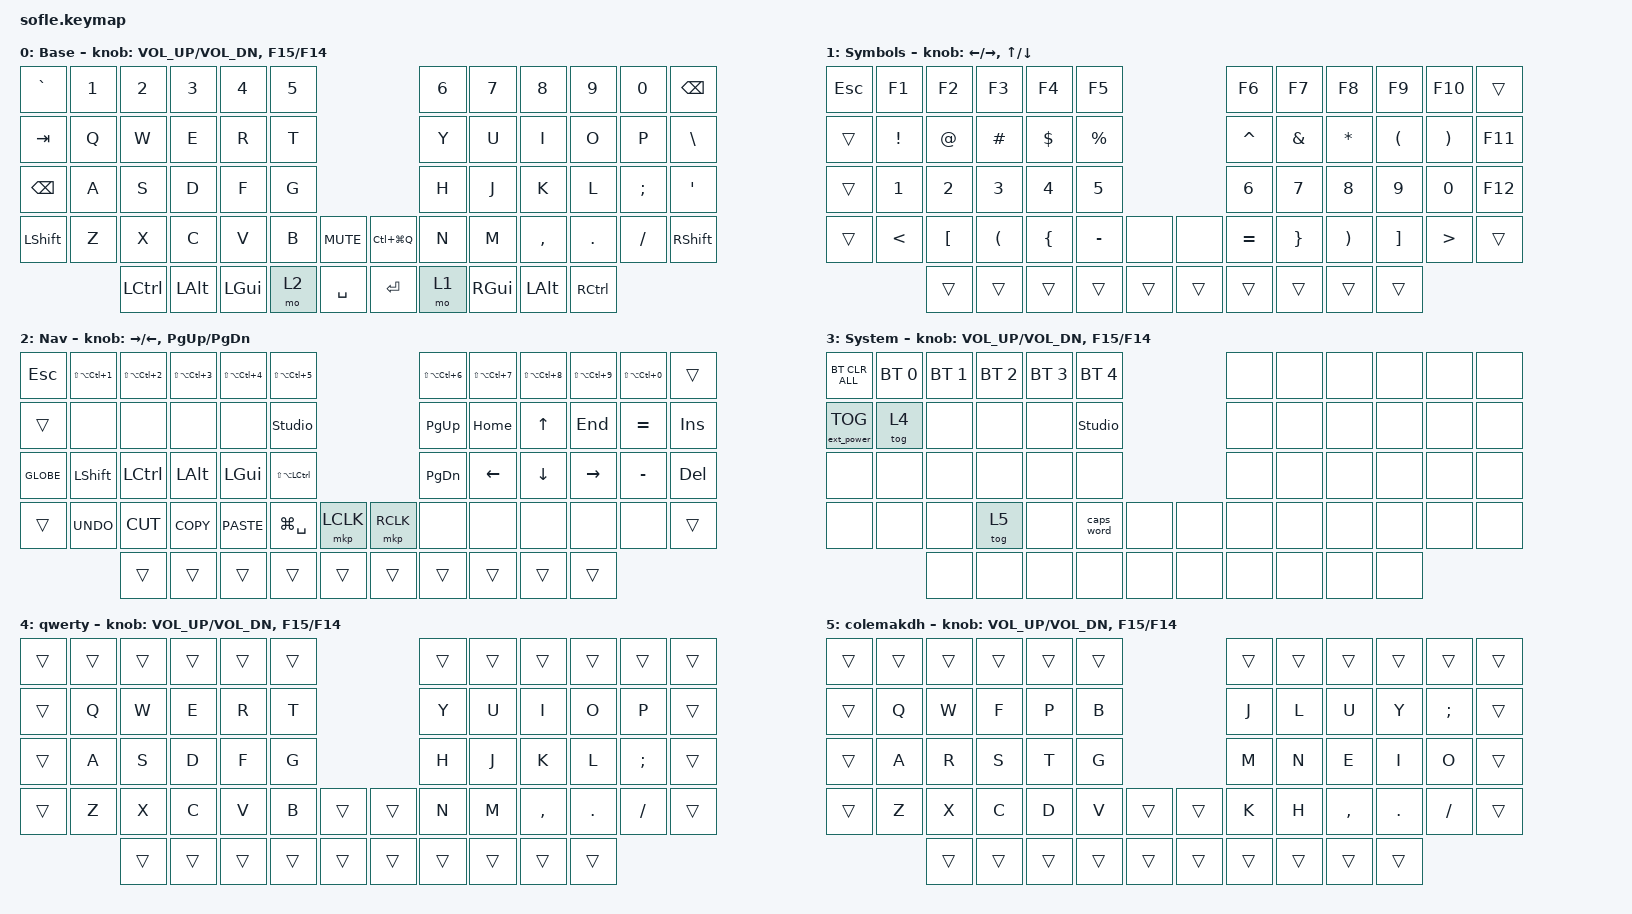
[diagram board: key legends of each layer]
/*
 * Copyright (c) 2020 The ZMK Contributors
 *
 * SPDX-License-Identifier: MIT
 */

#include <behaviors.dtsi>
#include <dt-bindings/zmk/bt.h>
#include <dt-bindings/zmk/ext_power.h>
#include <dt-bindings/zmk/keys.h>
#include <dt-bindings/zmk/pointing.h>

#define BASE 0
#define LOWER 1
#define RAISE 2
#define ADJUST 3

/ {
    // Activate ADJUST layer by pressing raise and lower

    conditional_layers {
        compatible = "zmk,conditional-layers";

        adjust_layer {
            if-layers = <1 2>;
            then-layer = <3>;
        };
    };

    combos {
        compatible = "zmk,combos";

        esc {
            bindings = <&kp ESCAPE>;
            key-positions = <0 1>;
        };

        unlock {
            bindings = <&studio_unlock>;
            key-positions = <36 24 25 37>;
        };
    };

    behaviors {
        caps: caps {
            compatible = "zmk,behavior-caps-word";
            label = "CAPS";
            #binding-cells = <0>;
            continue-list = <POUND MINUS BACKSPACE UNDERSCORE>;
        };
    };

    keymap {
        compatible = "zmk,keymap";

        default_layer {
            display-name = "Base";

            // ------------------------------------------------------------------------------------------------------------
            // |   `   |  1  |  2  |  3   |  4   |  5   |                   |  6   |  7    |  8    |  9   |   0   |       |
            // |  ESC  |  Q  |  W  |  E   |  R   |  T   |                   |  Y   |  U    |  I    |  O   |   P   | BKSPC |
            // |  TAB  |  A  |  S  |  D   |  F   |  G   |                   |  H   |  J    |  K    |  L   |   ;   |   '   |
            // | SHIFT |  Z  |  X  |  C   |  V   |  B   |  MUTE  |  |       |  N   |  M    |  ,    |  .   |   /   | SHIFT |
            //               | GUI | ALT  | CTRL | LOWER|  ENTER |  | SPACE | RAISE| CTRL  | ALT   | GUI  |

            bindings = <
&kp GRAVE       &kp N1  &kp N2     &kp N3    &kp N4    &kp N5                               &kp N6  &kp N7    &kp N8     &kp N9     &kp N0    &kp BACKSPACE
&kp TAB         &kp Q   &kp W      &kp E     &kp R     &kp T                                &kp Y   &kp U     &kp I      &kp O      &kp P     &kp BACKSLASH
&kp BACKSPACE   &kp A   &kp S      &kp D     &kp F     &kp G                                &kp H   &kp J     &kp K      &kp L      &kp SEMI  &kp SINGLE_QUOTE
&kp LEFT_SHIFT  &kp Z   &kp X      &kp C     &kp V     &kp B   &kp C_MUTE    &kp LC(LG(Q))  &kp N   &kp M     &kp COMMA  &kp DOT    &kp FSLH  &kp RSHFT
                        &kp LCTRL  &kp LALT  &kp LGUI  &mo 2   &kp SPACE     &kp ENTER      &mo 1   &kp RGUI  &kp LALT   &kp RCTRL
            >;

            sensor-bindings =
                <&inc_dec_kp C_VOL_UP C_VOL_DN>,
                <&inc_dec_kp F15 F14>;
        };

        lower_layer {
            display-name = "Symbols";

            // TODO: Some binds are waiting for shifted keycode support.
            // ------------------------------------------------------------------------------------------------------------
            // |       |  F1 |  F2 |  F3  |  F4  |  F5  |                   |  F6  |  F7   |  F8   |  F9  |  F10  |  F11  |
            // |   `   |  1  |  2  |  3   |  4   |  5   |                   |  6   |  7    |  8    |  9   |   0   |  F12  |
            // |       |  !  |  @  |  #   |  $   |  %   |                   |  ^   |  &    |  *    |  (   |   )   |   |   |
            // |       |  =  |  -  |  +   |  {   |  }   |        |  |       |  [   |  ]    |  ;    |  :   |   \   |       |
            //               |     |      |      |      |        |  |       |      |       |       |      |

            bindings = <
&kp ESC  &kp F1           &kp F2            &kp F3                &kp F4          &kp F5                          &kp F6        &kp F7           &kp F8                 &kp F9                &kp F10                &trans
&trans   &kp EXCLAMATION  &kp AT_SIGN       &kp HASH              &kp DOLLAR      &kp PERCENT                     &kp CARET     &kp AMPERSAND    &kp ASTERISK           &kp LEFT_PARENTHESIS  &kp RIGHT_PARENTHESIS  &kp F11
&trans   &kp NUMBER_1     &kp NUMBER_2      &kp NUMBER_3          &kp NUMBER_4    &kp NUMBER_5                    &kp NUMBER_6  &kp N7           &kp NUMBER_8           &kp NUMBER_9          &kp NUMBER_0           &kp F12
&trans   &kp LESS_THAN    &kp LEFT_BRACKET  &kp LEFT_PARENTHESIS  &kp LEFT_BRACE  &kp MINUS     &none     &none   &kp EQUAL     &kp RIGHT_BRACE  &kp RIGHT_PARENTHESIS  &kp RIGHT_BRACKET     &kp GREATER_THAN       &trans
                          &trans            &trans                &trans          &trans        &trans    &trans  &trans        &trans           &trans                 &trans
            >;

            sensor-bindings =
                <&inc_dec_kp LEFT_ARROW RIGHT_ARROW>,
                <&inc_dec_kp UP_ARROW DOWN_ARROW>;
        };

        raise_layer {
            display-name = "Nav";

            // ------------------------------------------------------------------------------------------------------------
            // | BTCLR | BT1  | BT2  |  BT3  |  BT4  |  BT5 |                |      |      |       |      |       |       |
            // |       | INS  | PSCR | GUI   |       |      |                | PGUP |      |   ^   |      |       |       |
            // |       | ALT  | CTRL | SHIFT |       | CAPS |                | PGDN |   <- |   v   |  ->  |  DEL  | BKSPC |
            // |       | UNDO | CUT  | COPY  | PASTE |      |      |  |      |      |      |       |      |       |       |
            //                |      |       |       |      |      |  |      |      |      |       |      |

            bindings = <
&kp ESCAPE  &kp LS(LA(LC(NUMBER_1)))  &kp LS(LA(LC(NUMBER_2)))  &kp LS(LA(LC(NUMBER_3)))  &kp LS(LA(LC(NUMBER_4)))  &kp LS(LA(LC(N5)))                                &kp LS(LA(LC(NUMBER_6)))  &kp LS(LA(LC(NUMBER_7)))  &kp LS(LA(LC(NUMBER_8)))  &kp LS(LA(LC(NUMBER_9)))  &kp LS(LA(LC(NUMBER_0)))  &trans
&trans      &none                     &none                     &none                     &none                     &studio_unlock                                    &kp PG_UP                 &kp HOME                  &kp UP                    &kp END                   &kp EQUAL                 &kp INS
&kp GLOBE   &kp LSHFT                 &kp LCTRL                 &kp LALT                  &kp LGUI                  &kp LS(LA(LEFT_CONTROL))                          &kp PG_DN                 &kp LEFT                  &kp DOWN                  &kp RIGHT                 &kp MINUS                 &kp DELETE
&trans      &kp K_UNDO                &kp K_CUT                 &kp K_COPY                &kp K_PASTE               &kp LG(SPACE)             &mkp LCLK    &mkp RCLK  &none                     &none                     &none                     &none                     &none                     &trans
                                      &trans                    &trans                    &trans                    &trans                    &trans       &trans     &trans                    &trans                    &trans                    &trans
            >;

            sensor-bindings =
                <&inc_dec_kp RIGHT LEFT>,
                <&inc_dec_kp PAGE_UP PAGE_DOWN>;
        };

        adjust_layer {
            // ----------------------------------------------------------------------------------------------------------------------------
            // | BTCLR  |  BT1    |  BT2    |   BT3   |   BT4   |   BT5   |                  |      |      |       |      |       |       |
            // | EXTPWR | RGB_HUD | RGB_HUI | RGB_SAD | RGB_SAI | RGB_EFF |                  |      |      |       |      |       |       |
            // |        | RGB_BRD | RGB_BRI |         |         |         |                  |      |      |       |      |       |       |
            // |        |         |         |         |         |         | RGB_TOG | |      |      |      |       |      |       |       |
            //                    |         |         |         |         |         | |      |      |      |       |      |

            display-name = "System";
            bindings = <
&bt BT_CLR_ALL     &bt BT_SEL 0  &bt BT_SEL 1  &bt BT_SEL 2  &bt BT_SEL 3  &bt BT_SEL 4                    &none  &none  &none  &none  &none  &none
&ext_power EP_TOG  &tog 4        &none         &none         &none         &studio_unlock                  &none  &none  &none  &none  &none  &none
&none              &none         &none         &none         &none         &none                           &none  &none  &none  &none  &none  &none
&none              &none         &none         &tog 5        &none         &caps_word      &none    &none  &none  &none  &none  &none  &none  &none
                                 &none         &none         &none         &none           &none    &none  &none  &none  &none  &none
            >;

            sensor-bindings =
                <&inc_dec_kp C_VOL_UP C_VOL_DN>,
                <&inc_dec_kp F15 F14>;
        };

        qwerty {
            display-name = "qwerty";
            bindings = <
&trans  &trans  &trans  &trans  &trans  &trans                    &trans  &trans  &trans     &trans   &trans         &trans
&trans  &kp Q   &kp W   &kp E   &kp R   &kp T                     &kp Y   &kp U   &kp I      &kp O    &kp P          &trans
&trans  &kp A   &kp S   &kp D   &kp F   &kp G                     &kp H   &kp J   &kp K      &kp L    &kp SEMICOLON  &trans
&trans  &kp Z   &kp X   &kp C   &kp V   &kp B   &trans    &trans  &kp N   &kp M   &kp COMMA  &kp DOT  &kp FSLH       &trans
                &trans  &trans  &trans  &trans  &trans    &trans  &trans  &trans  &trans     &trans
            >;

            sensor-bindings =
                <&inc_dec_kp C_VOL_UP C_VOL_DN>,
                <&inc_dec_kp F15 F14>;
        };

        colemakdh {
            display-name = "colemakdh";
            bindings = <
&trans  &trans  &trans  &trans  &trans  &trans                    &trans  &trans  &trans     &trans   &trans    &trans
&trans  &kp Q   &kp W   &kp F   &kp P   &kp B                     &kp J   &kp L   &kp U      &kp Y    &kp SEMI  &trans
&trans  &kp A   &kp R   &kp S   &kp T   &kp G                     &kp M   &kp N   &kp E      &kp I    &kp O     &trans
&trans  &kp Z   &kp X   &kp C   &kp D   &kp V   &trans    &trans  &kp K   &kp H   &kp COMMA  &kp DOT  &kp FSLH  &trans
                &trans  &trans  &trans  &trans  &trans    &trans  &trans  &trans  &trans     &trans
            >;

            sensor-bindings =
                <&inc_dec_kp C_VOL_UP C_VOL_DN>,
                <&inc_dec_kp F15 F14>;
        };
    };
};
